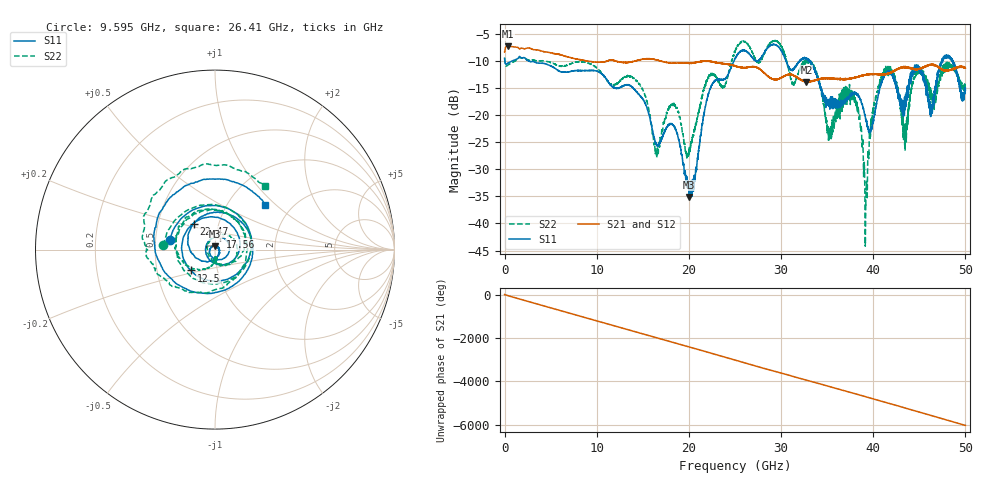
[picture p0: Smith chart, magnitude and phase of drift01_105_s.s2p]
!Created with skrf (http://scikit-rf.org).
# Hz S RI R 50.0
!freq ReS11 ImS11 ReS21 ImS21 ReS12 ImS12 ReS22 ImS22
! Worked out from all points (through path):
!   10001 points, 300 kHz to 50 GHz, reference 50 ohm
!   highest |S21| = -7.33 dB at 400.3 MHz (marker M1); lowest = -13.9 dB at 32.76 GHz (marker M2)
!   group delay of S21, straight-line fit = 335 ps
!   lowest |S11| = -35.1 dB at 20.01 GHz (marker M3), VSWR 1.04, Z = 49.9 + j1.74 ohm
!   |S11| at or under -10 dB: 2.555 GHz to 24.92 GHz (22.36 GHz wide, 163 % of centre); 30.53 GHz to 32.01 GHz (1.484 GHz wide, 4.75 % of centre); 33.07 GHz to 47.43 GHz (14.36 GHz wide, 35.7 % of centre) (the widest 3 of 18)
!   |S22| runs from -44.2 to -6.3 dB; largest |S21 - S12| = 0.01
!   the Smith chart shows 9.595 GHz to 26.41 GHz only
!   S11 on the Smith chart (normalised r, x): 9.595 GHz: 0.59, +0.07; 12.5 GHz: 0.74, -0.18; 17.56 GHz: 1.05, +0.15; 22.47 GHz: 0.76, +0.23; 26.41 GHz: 1.48, +0.86
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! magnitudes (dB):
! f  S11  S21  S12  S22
! 300 kHz  -9.5  -8.4  -8.5  -9.5
! 400.3 MHz  -10.4  -7.3  -7.3  -10.8
! 8.335 GHz  -11.8  -9.8  -9.8  -10.2
! 9.595 GHz  -11.8  -10.2  -10.2  -10.8
! 12.5 GHz  -15.0  -10.2  -10.3  -13.8
! 16.67 GHz  -25.7  -10.0  -9.9  -27.1
! 17.56 GHz  -22.3  -10.3  -10.3  -19.6
! 20.01 GHz  -35.1  -10.5  -10.5  -26.6
! 22.47 GHz  -14.6  -10.2  -10.2  -12.6
! 25 GHz  -9.6  -11.0  -11.0  -8.3
! 26.41 GHz  -8.5  -11.2  -11.2  -7.0
! 32.76 GHz  -9.7  -13.9  -13.8  -10.2
! 33.34 GHz  -10.7  -13.8  -13.7  -10.6
! 35.23 GHz  -17.1  -13.2  -13.2  -22.7
! 37.97 GHz  -15.9  -13.2  -13.2  -17.6
! 39.17 GHz  -20.6  -12.6  -12.6  -40.8
! 40.15 GHz  -19.9  -12.5  -12.5  -17.8
! 41.67 GHz  -11.9  -12.3  -12.4  -12.0
! 43.43 GHz  -17.4  -11.2  -11.2  -24.8
! 44.88 GHz  -11.2  -11.5  -11.5  -11.8
! 46.25 GHz  -19.4  -10.7  -10.8  -16.6
! 50 GHz  -15.5  -11.4  -11.3  -15.0
